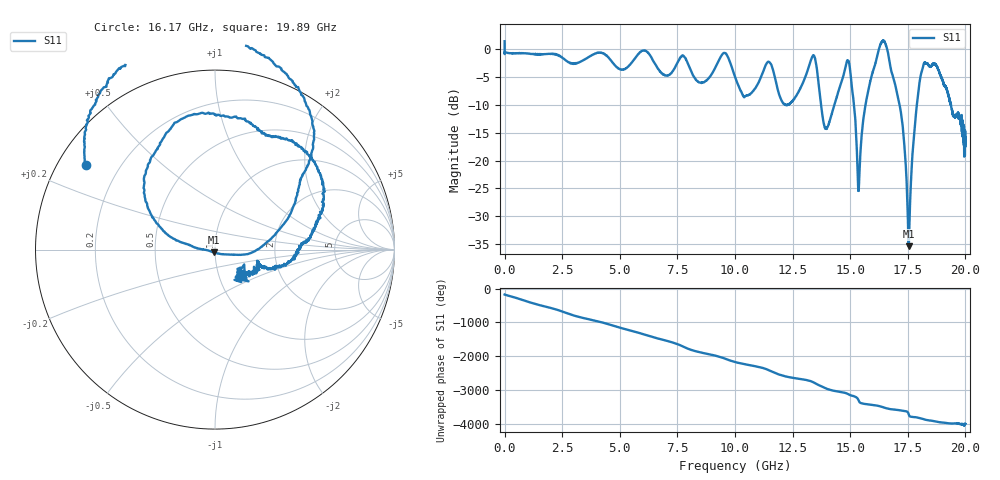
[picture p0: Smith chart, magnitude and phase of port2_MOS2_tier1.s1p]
! Created with skrf 1.8.0 (http://scikit-rf.org).
# GHz S RI R 50.0
!freq ReS11 ImS11
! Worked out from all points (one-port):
!   10001 points, 1 MHz to 20 GHz, reference 50 ohm
!   lowest |S11| = -35.4 dB at 17.54 GHz (marker M1), VSWR 1.03, Z = 49.4 - j1.57 ohm
!   |S11| at or under -10 dB: 13.74 GHz to 14.31 GHz (575.6 MHz wide, 4.1 % of centre); 17.14 GHz to 17.89 GHz (749 MHz wide, 4.28 % of centre); 19.37 GHz to end of sweep (the widest 3 of 13)
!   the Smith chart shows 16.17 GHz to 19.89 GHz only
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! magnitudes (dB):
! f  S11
! 1 MHz  1.5
! 2.501 GHz  -1.5
! 4.201 GHz  -0.6
! 5.001 GHz  -3.6
! 6.029 GHz  -0.2
! 6.959 GHz  -4.7
! 7.501 GHz  -2.4
! 8.599 GHz  -5.9
! 9.557 GHz  -0.6
! 10 GHz  -4.9
! 10.48 GHz  -8.3
! 11.48 GHz  -2.2
! 12.05 GHz  -9.4
! 12.5 GHz  -9.3
! 13.41 GHz  -1.1
! 13.97 GHz  -14.2
! 14.84 GHz  -2.4
! 15 GHz  -3.8
! 15.38 GHz  -24.6
! 15.8 GHz  -7.0
! 16.53 GHz  1.0
! 17.21 GHz  -11.6
! 17.5 GHz  -29.9
! 17.54 GHz  -35.4
! 17.92 GHz  -9.0
! 18.24 GHz  -2.4
! 18.77 GHz  -3.1
! 20 GHz  -15.8
